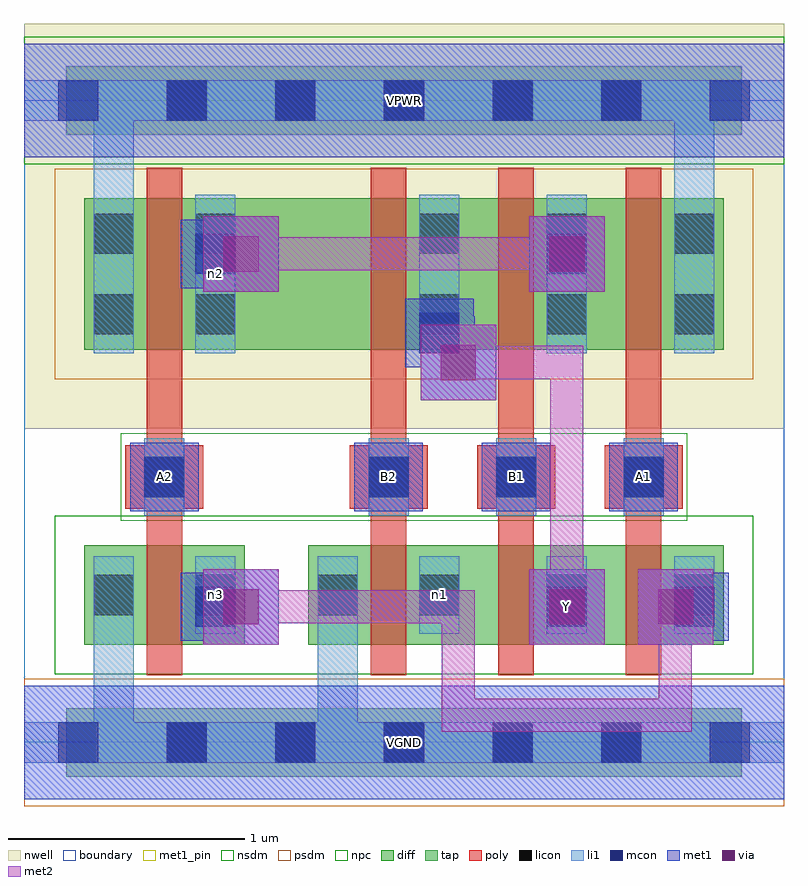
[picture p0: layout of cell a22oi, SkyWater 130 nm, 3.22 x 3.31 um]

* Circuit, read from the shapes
.subckt a22oi A1 A2 B1 B2 VGND VPWR Y n1 n2 n3
XM1 n3 A2 VGND VGND sky130_fd_pr__nfet_01v8 w=0.42 l=0.15
XM2 n1 B2 VGND VGND sky130_fd_pr__nfet_01v8 w=0.42 l=0.15
XM3 Y B1 n1 VGND sky130_fd_pr__nfet_01v8 w=0.42 l=0.15
XM4 n3 A1 Y VGND sky130_fd_pr__nfet_01v8 w=0.42 l=0.15
XM5 n2 A2 VPWR VPWR sky130_fd_pr__pfet_01v8 w=0.64 l=0.15
XM6 Y B2 n2 VPWR sky130_fd_pr__pfet_01v8 w=0.64 l=0.15
XM7 n2 B1 Y VPWR sky130_fd_pr__pfet_01v8 w=0.64 l=0.15
XM8 VPWR A1 n2 VPWR sky130_fd_pr__pfet_01v8 w=0.64 l=0.15
.ends

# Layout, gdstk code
import gdstk
lib = gdstk.Library(unit=1e-6, precision=1e-09)
def R(c, l, rs):  # rectangles x0, y0, x1, y1
    for r in rs: c.add(gdstk.rectangle(r[:2], r[2:], *l))
def A(c, l, x, y, w, h, nx, ny, dx, dy):  # array of equal rectangles
    R(c, l, [(x+i*dx, y+j*dy, x+i*dx+w, y+j*dy+h) for i in range(nx) for j in range(ny)])
nwell = (64, 20)
diff = (65, 20)
tap = (65, 44)
poly = (66, 20)
licon = (66, 44)
li1 = (67, 20)
mcon = (67, 44)
met1_pin = (68, 16)
met1 = (68, 20)
via = (68, 44)
met2 = (69, 20)
nsdm = (93, 44)
psdm = (94, 20)
npc = (95, 20)
boundary = (235, 4)

a22oi = lib.new_cell('a22oi')
R(a22oi, nwell, [(0,1.33,3.22,3.045)])
R(a22oi, diff, [(0.255,0.415,0.935,0.835), (1.205,0.415,2.965,0.835), (0.255,1.665,2.965,2.305)])
R(a22oi, tap, [(0.18,-0.145,3.04,0.145), (0.18,2.575,3.04,2.865)])
A(a22oi, poly, 1.47, 0.285, 0.15, 2.15, 3, 1, 0.54, 0)
A(a22oi, poly, 1.38, 0.99, 0.33, 0.27, 3, 1, 0.54, 0)
R(a22oi, poly, [(0.52,0.285,0.67,2.435), (0.43,0.99,0.76,1.26)])
A(a22oi, licon, 0.605, -0.085, 0.17, 0.17, 5, 2, 0.46, 2.72)
A(a22oi, licon, 1.675, 0.54, 0.17, 0.17, 3, 2, 0.54, 1.19)
A(a22oi, licon, 1.46, 1.04, 0.17, 0.17, 3, 1, 0.54, 0)
A(a22oi, licon, 1.675, 2.07, 0.17, 0.17, 3, 1, 0.54, 0)
R(a22oi, licon, [(0.295,0.54,0.465,0.71), (0.725,0.54,0.895,0.71), (1.245,0.54,1.415,0.71), (0.51,1.04,0.68,1.21), (0.295,1.73,0.465,1.9), (0.725,1.73,0.895,1.9), (0.295,2.07,0.465,2.24), (0.725,2.07,0.895,2.24)])
A(a22oi, li1, 1.675, 0.46, 0.17, 0.33, 3, 1, 0.54, 0)
A(a22oi, li1, 1.46, 0.96, 0.17, 0.33, 3, 1, 0.54, 0)
A(a22oi, li1, 1.675, 1.65, 0.17, 0.67, 3, 1, 0.54, 0)
R(a22oi, li1, [(0,-0.085,3.22,0.085), (0.295,-0.085,0.465,0.79), (1.245,-0.085,1.415,0.79), (0.295,0.46,0.465,0.79), (0.725,0.46,0.895,0.79), (1.245,0.46,1.415,0.79), (0.51,0.96,0.68,1.29), (0.295,1.65,0.465,2.32), (0.295,1.65,0.465,2.805), (0.725,1.65,0.895,2.32), (2.755,1.65,2.925,2.805), (0,2.635,3.22,2.805)])
A(a22oi, mcon, 0.145, -0.085, 0.17, 0.17, 7, 2, 0.46, 2.72)
A(a22oi, mcon, 1.46, 1.04, 0.17, 0.17, 3, 1, 0.54, 0)
R(a22oi, mcon, [(0.725,0.49,0.895,0.66), (2.215,0.49,2.385,0.66), (2.755,0.49,2.925,0.66), (0.51,1.04,0.68,1.21), (1.675,1.65,1.845,1.82), (0.725,1.985,0.895,2.155), (2.215,1.985,2.385,2.155)])
A(a22oi, met1_pin, 1.4, 0.98, 0.29, 0.29, 3, 1, 0.54, 0)
R(a22oi, met1_pin, [(0,-0.24,3.22,0.24), (2.14,0.415,2.46,0.735), (0.45,0.98,0.74,1.27), (0,2.48,3.22,2.96)])
A(a22oi, met1, 1.4, 0.98, 0.29, 0.29, 3, 1, 0.54, 0)
R(a22oi, met1, [(0,-0.24,3.22,0.24), (0.76,0.415,1.08,0.735), (2.14,0.415,2.46,0.735), (2.6,0.415,2.92,0.735), (0.665,0.43,0.955,0.72), (2.155,0.43,2.445,0.72), (2.695,0.43,2.985,0.72), (0.74,0.505,0.99,0.645), (2.69,0.505,2.91,0.645), (0.45,0.98,0.74,1.27), (1.68,1.45,2,1.77), (1.77,1.54,1.91,1.805), (1.615,1.59,1.905,1.88), (1.69,1.665,1.91,1.805), (0.76,1.91,1.08,2.23), (2.14,1.91,2.46,2.23), (0.665,1.925,0.955,2.215), (2.155,1.925,2.445,2.215), (0.74,2,0.99,2.14), (0,2.48,3.22,2.96)])
R(a22oi, via, [(0.845,0.5,0.995,0.65), (2.225,0.5,2.375,0.65), (2.685,0.5,2.835,0.65), (1.765,1.535,1.915,1.685), (0.845,1.995,0.995,2.145), (2.225,1.995,2.375,2.145)])
R(a22oi, met2, [(1.77,0.045,2.83,0.185), (1.77,0.045,1.91,0.645), (2.69,0.045,2.83,0.645), (0.76,0.415,1.08,0.735), (2.14,0.415,2.46,0.735), (2.6,0.415,2.92,0.735), (0.85,0.505,1.91,0.645), (2.23,0.505,2.37,1.68), (1.68,1.45,2,1.77), (1.77,1.54,2.37,1.68), (0.76,1.91,1.08,2.23), (2.14,1.91,2.46,2.23), (0.85,2,2.37,2.14)])
R(a22oi, nsdm, [(0.13,0.29,3.09,0.96), (0,2.45,3.22,2.99)])
R(a22oi, psdm, [(0,-0.27,3.22,0.27), (0.13,1.54,3.09,2.43)])
R(a22oi, npc, [(0.41,0.94,2.81,1.31)])
R(a22oi, boundary, [(0,0,3.22,2.72)])
a22oi.add(gdstk.Label('n2', (0.81,1.985), layer=67, texttype=5))
a22oi.add(gdstk.Label('n3', (0.81,0.625), layer=67, texttype=5))
a22oi.add(gdstk.Label('n1', (1.76,0.625), layer=67, texttype=5))
a22oi.add(gdstk.Label('A1', (2.625,1.125), layer=68, texttype=5))
a22oi.add(gdstk.Label('A2', (0.595,1.125), layer=68, texttype=5))
a22oi.add(gdstk.Label('B1', (2.085,1.125), layer=68, texttype=5))
a22oi.add(gdstk.Label('B2', (1.545,1.125), layer=68, texttype=5))
a22oi.add(gdstk.Label('Y', (2.3,0.575), layer=68, texttype=5))
a22oi.add(gdstk.Label('VPWR', (1.61,2.72), layer=68, texttype=5))
a22oi.add(gdstk.Label('VGND', (1.61,0), layer=68, texttype=5))
a22oi.add(gdstk.Label('A1', (2.625,1.125), layer=68, texttype=16))
a22oi.add(gdstk.Label('A2', (0.595,1.125), layer=68, texttype=16))
a22oi.add(gdstk.Label('B1', (2.085,1.125), layer=68, texttype=16))
a22oi.add(gdstk.Label('B2', (1.545,1.125), layer=68, texttype=16))
a22oi.add(gdstk.Label('Y', (2.3,0.575), layer=68, texttype=16))
a22oi.add(gdstk.Label('VPWR', (1.61,2.72), layer=68, texttype=16))
a22oi.add(gdstk.Label('VGND', (1.61,0), layer=68, texttype=16))

lib.write_gds('a22oi.gds')
